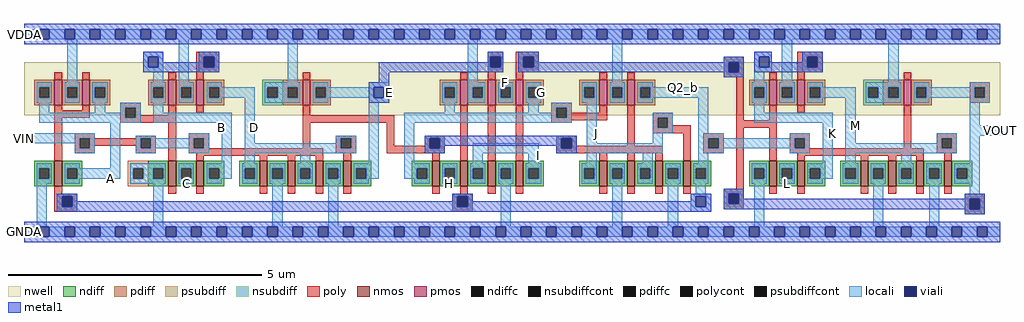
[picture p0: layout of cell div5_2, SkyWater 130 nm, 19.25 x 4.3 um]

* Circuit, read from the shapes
.subckt div5_2 VOUT VIN VDDA GNDA
XM1 A Q2_b GNDA GNDA sky130_fd_pr__nfet_01v8 w=0.5 l=0.15
XM2 C A GNDA GNDA sky130_fd_pr__nfet_01v8 w=0.5 l=0.15
XM3 B VIN C GNDA sky130_fd_pr__nfet_01v8 w=0.5 l=0.15
XM4 GNDA VIN D GNDA sky130_fd_pr__nfet_01v8 w=0.5 l=0.15 m=3
XM5 E D GNDA GNDA sky130_fd_pr__nfet_01v8 w=0.5 l=0.15
XM6 H VIN G GNDA sky130_fd_pr__nfet_01v8 w=0.5 l=0.15
XM7 I Q2_b H GNDA sky130_fd_pr__nfet_01v8 w=0.5 l=0.15
XM8 GNDA E I GNDA sky130_fd_pr__nfet_01v8 w=0.5 l=0.15
XM9 I VOUT GNDA GNDA sky130_fd_pr__nfet_01v8 w=0.5 l=0.15
XM10 GNDA VIN J GNDA sky130_fd_pr__nfet_01v8 w=0.5 l=0.15 m=3
XM11 Q2_b J GNDA GNDA sky130_fd_pr__nfet_01v8 w=0.5 l=0.15
XM12 L VOUT GNDA GNDA sky130_fd_pr__nfet_01v8 w=0.5 l=0.15
XM13 K Q2_b L GNDA sky130_fd_pr__nfet_01v8 w=0.5 l=0.15
XM14 GNDA Q2_b M GNDA sky130_fd_pr__nfet_01v8 w=0.5 l=0.15 m=3
XM15 VOUT M GNDA GNDA sky130_fd_pr__nfet_01v8 w=0.5 l=0.15
XM16 VDDA Q2_b A VDDA sky130_fd_pr__pfet_01v8 w=0.5 l=0.15 m=2
XM17 VDDA A B VDDA sky130_fd_pr__pfet_01v8 w=0.5 l=0.15
XM18 D B VDDA VDDA sky130_fd_pr__pfet_01v8 w=0.5 l=0.15
XM19 E VIN VDDA VDDA sky130_fd_pr__pfet_01v8 w=0.5 l=0.15
XM20 VDDA Q2_b G VDDA sky130_fd_pr__pfet_01v8 w=0.5 l=0.15
XM21 F E VDDA VDDA sky130_fd_pr__pfet_01v8 w=0.5 l=0.15
XM22 G VOUT F VDDA sky130_fd_pr__pfet_01v8 w=0.5 l=0.15
XM23 VDDA G J VDDA sky130_fd_pr__pfet_01v8 w=0.5 l=0.15
XM24 Q2_b VIN VDDA VDDA sky130_fd_pr__pfet_01v8 w=0.5 l=0.15
XM25 VDDA VOUT K VDDA sky130_fd_pr__pfet_01v8 w=0.5 l=0.15
XM26 M K VDDA VDDA sky130_fd_pr__pfet_01v8 w=0.5 l=0.15
XM27 VOUT Q2_b VDDA VDDA sky130_fd_pr__pfet_01v8 w=0.5 l=0.15
.ends

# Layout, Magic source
magic
tech sky130A
<< nwell >>
rect 455 105 2380 210
<< nmos >>
rect 515 -35 530 15
rect 740 -35 755 15
rect 795 -35 810 15
rect 920 -35 935 15
rect 975 -35 990 15
rect 1030 -35 1045 15
rect 1085 -35 1100 15
rect 1260 -35 1275 15
rect 1315 -35 1330 15
rect 1370 -35 1385 15
rect 1425 -35 1440 15
rect 1590 -35 1605 15
rect 1645 -35 1660 15
rect 1700 -35 1715 15
rect 1755 -35 1770 15
rect 1925 -35 1940 15
rect 1980 -35 1995 15
rect 2105 -35 2120 15
rect 2160 -35 2175 15
rect 2215 -35 2230 15
rect 2270 -35 2285 15
<< pmos >>
rect 515 125 530 175
rect 570 125 585 175
rect 740 125 755 175
rect 795 125 810 175
rect 1005 125 1020 175
rect 1315 125 1330 175
rect 1370 125 1385 175
rect 1425 125 1440 175
rect 1590 125 1605 175
rect 1645 125 1660 175
rect 1925 125 1940 175
rect 1980 125 1995 175
rect 2190 125 2205 175
<< ndiff >>
rect 475 0 515 15
rect 475 -20 485 0
rect 505 -20 515 0
rect 475 -35 515 -20
rect 530 0 570 15
rect 530 -20 540 0
rect 560 -20 570 0
rect 530 -35 570 -20
rect 700 0 740 15
rect 700 -20 710 0
rect 730 -20 740 0
rect 700 -35 740 -20
rect 755 0 795 15
rect 755 -20 765 0
rect 785 -20 795 0
rect 755 -35 795 -20
rect 810 0 850 15
rect 810 -20 820 0
rect 840 -20 850 0
rect 810 -35 850 -20
rect 880 0 920 15
rect 880 -20 890 0
rect 910 -20 920 0
rect 880 -35 920 -20
rect 935 0 975 15
rect 935 -20 945 0
rect 965 -20 975 0
rect 935 -35 975 -20
rect 990 0 1030 15
rect 990 -20 1000 0
rect 1020 -20 1030 0
rect 990 -35 1030 -20
rect 1045 0 1085 15
rect 1045 -20 1055 0
rect 1075 -20 1085 0
rect 1045 -35 1085 -20
rect 1100 0 1140 15
rect 1100 -20 1110 0
rect 1130 -20 1140 0
rect 1100 -35 1140 -20
rect 1220 0 1260 15
rect 1220 -20 1230 0
rect 1250 -20 1260 0
rect 1220 -35 1260 -20
rect 1275 0 1315 15
rect 1275 -20 1285 0
rect 1305 -20 1315 0
rect 1275 -35 1315 -20
rect 1330 0 1370 15
rect 1330 -20 1340 0
rect 1360 -20 1370 0
rect 1330 -35 1370 -20
rect 1385 0 1425 15
rect 1385 -20 1395 0
rect 1415 -20 1425 0
rect 1385 -35 1425 -20
rect 1440 0 1480 15
rect 1440 -20 1450 0
rect 1470 -20 1480 0
rect 1440 -35 1480 -20
rect 1550 0 1590 15
rect 1550 -20 1560 0
rect 1580 -20 1590 0
rect 1550 -35 1590 -20
rect 1605 0 1645 15
rect 1605 -20 1615 0
rect 1635 -20 1645 0
rect 1605 -35 1645 -20
rect 1660 0 1700 15
rect 1660 -20 1670 0
rect 1690 -20 1700 0
rect 1660 -35 1700 -20
rect 1715 0 1755 15
rect 1715 -20 1725 0
rect 1745 -20 1755 0
rect 1715 -35 1755 -20
rect 1770 0 1810 15
rect 1770 -20 1780 0
rect 1800 -20 1810 0
rect 1770 -35 1810 -20
rect 1885 0 1925 15
rect 1885 -20 1895 0
rect 1915 -20 1925 0
rect 1885 -35 1925 -20
rect 1940 0 1980 15
rect 1940 -20 1950 0
rect 1970 -20 1980 0
rect 1940 -35 1980 -20
rect 1995 0 2035 15
rect 1995 -20 2005 0
rect 2025 -20 2035 0
rect 1995 -35 2035 -20
rect 2065 0 2105 15
rect 2065 -20 2075 0
rect 2095 -20 2105 0
rect 2065 -35 2105 -20
rect 2120 0 2160 15
rect 2120 -20 2130 0
rect 2150 -20 2160 0
rect 2120 -35 2160 -20
rect 2175 0 2215 15
rect 2175 -20 2185 0
rect 2205 -20 2215 0
rect 2175 -35 2215 -20
rect 2230 0 2270 15
rect 2230 -20 2240 0
rect 2260 -20 2270 0
rect 2230 -35 2270 -20
rect 2285 0 2325 15
rect 2285 -20 2295 0
rect 2315 -20 2325 0
rect 2285 -35 2325 -20
<< pdiff >>
rect 475 160 515 175
rect 475 140 485 160
rect 505 140 515 160
rect 475 125 515 140
rect 530 160 570 175
rect 530 140 540 160
rect 560 140 570 160
rect 530 125 570 140
rect 585 160 625 175
rect 585 140 595 160
rect 615 140 625 160
rect 585 125 625 140
rect 700 160 740 175
rect 700 140 710 160
rect 730 140 740 160
rect 700 125 740 140
rect 755 160 795 175
rect 755 140 765 160
rect 785 140 795 160
rect 755 125 795 140
rect 810 160 850 175
rect 810 140 820 160
rect 840 140 850 160
rect 810 125 850 140
rect 965 160 1005 175
rect 965 140 975 160
rect 995 140 1005 160
rect 965 125 1005 140
rect 1020 160 1060 175
rect 1020 140 1030 160
rect 1050 140 1060 160
rect 1020 125 1060 140
rect 1275 160 1315 175
rect 1275 140 1285 160
rect 1305 140 1315 160
rect 1275 125 1315 140
rect 1330 160 1370 175
rect 1330 140 1340 160
rect 1360 140 1370 160
rect 1330 125 1370 140
rect 1385 160 1425 175
rect 1385 140 1395 160
rect 1415 140 1425 160
rect 1385 125 1425 140
rect 1440 160 1480 175
rect 1440 140 1450 160
rect 1470 140 1480 160
rect 1440 125 1480 140
rect 1550 160 1590 175
rect 1550 140 1560 160
rect 1580 140 1590 160
rect 1550 125 1590 140
rect 1605 160 1645 175
rect 1605 140 1615 160
rect 1635 140 1645 160
rect 1605 125 1645 140
rect 1660 160 1700 175
rect 1660 140 1670 160
rect 1690 140 1700 160
rect 1660 125 1700 140
rect 1885 160 1925 175
rect 1885 140 1895 160
rect 1915 140 1925 160
rect 1885 125 1925 140
rect 1940 160 1980 175
rect 1940 140 1950 160
rect 1970 140 1980 160
rect 1940 125 1980 140
rect 1995 160 2035 175
rect 1995 140 2005 160
rect 2025 140 2035 160
rect 1995 125 2035 140
rect 2150 160 2190 175
rect 2150 140 2160 160
rect 2180 140 2190 160
rect 2150 125 2190 140
rect 2205 160 2245 175
rect 2205 140 2215 160
rect 2235 140 2245 160
rect 2205 125 2245 140
<< ndiffc >>
rect 485 -20 505 0
rect 540 -20 560 0
rect 710 -20 730 0
rect 765 -20 785 0
rect 820 -20 840 0
rect 890 -20 910 0
rect 945 -20 965 0
rect 1000 -20 1020 0
rect 1055 -20 1075 0
rect 1110 -20 1130 0
rect 1230 -20 1250 0
rect 1285 -20 1305 0
rect 1340 -20 1360 0
rect 1395 -20 1415 0
rect 1450 -20 1470 0
rect 1560 -20 1580 0
rect 1615 -20 1635 0
rect 1670 -20 1690 0
rect 1725 -20 1745 0
rect 1780 -20 1800 0
rect 1895 -20 1915 0
rect 1950 -20 1970 0
rect 2005 -20 2025 0
rect 2075 -20 2095 0
rect 2130 -20 2150 0
rect 2185 -20 2205 0
rect 2240 -20 2260 0
rect 2295 -20 2315 0
<< pdiffc >>
rect 485 140 505 160
rect 540 140 560 160
rect 595 140 615 160
rect 710 140 730 160
rect 765 140 785 160
rect 820 140 840 160
rect 975 140 995 160
rect 1030 140 1050 160
rect 1285 140 1305 160
rect 1340 140 1360 160
rect 1395 140 1415 160
rect 1450 140 1470 160
rect 1560 140 1580 160
rect 1615 140 1635 160
rect 1670 140 1690 160
rect 1895 140 1915 160
rect 1950 140 1970 160
rect 2005 140 2025 160
rect 2160 140 2180 160
rect 2215 140 2235 160
<< psubdiff >>
rect 660 0 700 15
rect 660 -20 670 0
rect 690 -20 700 0
rect 660 -35 700 -20
<< nsubdiff >>
rect 925 160 965 175
rect 925 140 935 160
rect 955 140 965 160
rect 925 125 965 140
rect 2110 160 2150 175
rect 2110 140 2120 160
rect 2140 140 2150 160
rect 2110 125 2150 140
<< psubdiffcont >>
rect 670 -20 690 0
<< nsubdiffcont >>
rect 935 140 955 160
rect 2120 140 2140 160
<< poly >>
rect 795 220 840 230
rect 795 200 810 220
rect 830 200 840 220
rect 795 190 840 200
rect 1370 220 1400 230
rect 1370 200 1375 220
rect 1395 200 1400 220
rect 1370 190 1400 200
rect 1425 220 1470 230
rect 1980 220 2030 230
rect 1425 200 1440 220
rect 1460 200 1470 220
rect 1425 190 1470 200
rect 1835 210 1875 220
rect 1835 190 1845 210
rect 1865 190 1875 210
rect 1980 200 2000 220
rect 2020 200 2030 220
rect 1980 190 2030 200
rect 515 175 530 190
rect 570 175 585 190
rect 740 175 755 190
rect 795 175 810 190
rect 1005 175 1020 190
rect 1315 175 1330 190
rect 1370 175 1385 190
rect 1425 175 1440 190
rect 1590 175 1605 190
rect 1645 175 1660 190
rect 1835 180 1875 190
rect 515 115 530 125
rect 570 115 585 125
rect 515 100 585 115
rect 645 120 685 130
rect 645 100 655 120
rect 675 105 685 120
rect 740 105 755 125
rect 795 110 810 125
rect 675 100 755 105
rect 515 15 530 100
rect 645 90 755 100
rect 555 60 595 70
rect 675 60 715 65
rect 555 40 565 60
rect 585 45 685 60
rect 585 40 595 45
rect 555 30 595 40
rect 675 40 685 45
rect 705 40 715 60
rect 675 30 715 40
rect 740 15 755 90
rect 1005 105 1020 125
rect 1005 90 1185 105
rect 780 60 820 70
rect 780 40 790 60
rect 810 40 820 60
rect 1005 40 1020 90
rect 1070 60 1110 65
rect 1070 40 1080 60
rect 1100 40 1110 60
rect 780 30 1045 40
rect 1070 30 1110 40
rect 1170 45 1185 90
rect 1245 60 1285 65
rect 1245 45 1255 60
rect 1170 40 1255 45
rect 1275 40 1285 60
rect 1170 30 1285 40
rect 795 25 1045 30
rect 795 15 810 25
rect 920 15 935 25
rect 975 15 990 25
rect 1030 15 1045 25
rect 1085 15 1100 30
rect 1260 15 1275 30
rect 1315 15 1330 125
rect 1370 15 1385 125
rect 1425 15 1440 125
rect 1495 120 1535 130
rect 1495 100 1505 120
rect 1525 110 1535 120
rect 1590 110 1605 125
rect 1525 100 1605 110
rect 1495 95 1605 100
rect 1495 90 1535 95
rect 1505 60 1545 65
rect 1505 40 1515 60
rect 1535 45 1545 60
rect 1645 45 1660 125
rect 1695 100 1735 110
rect 1695 80 1705 100
rect 1725 85 1735 100
rect 1860 95 1875 180
rect 1925 175 1940 190
rect 1980 175 1995 190
rect 2190 175 2205 190
rect 2320 160 2360 170
rect 2320 140 2330 160
rect 2350 140 2360 160
rect 2320 130 2360 140
rect 1925 95 1940 125
rect 1980 110 1995 125
rect 1725 80 1770 85
rect 1695 70 1770 80
rect 1860 80 1940 95
rect 1535 40 1715 45
rect 1505 30 1715 40
rect 1590 15 1605 30
rect 1645 15 1660 30
rect 1700 15 1715 30
rect 1755 15 1770 70
rect 1795 60 1835 70
rect 1795 40 1805 60
rect 1825 40 1835 60
rect 1795 30 1835 40
rect 515 -50 530 -35
rect 740 -50 755 -35
rect 795 -50 810 -35
rect 920 -50 935 -35
rect 975 -50 990 -35
rect 1030 -50 1045 -35
rect 1085 -50 1100 -35
rect 1260 -50 1275 -35
rect 1315 -50 1330 -35
rect 1370 -50 1385 -35
rect 1425 -50 1440 -35
rect 1590 -50 1605 -35
rect 1645 -50 1660 -35
rect 1700 -50 1715 -35
rect 1755 -50 1770 -35
rect 1860 -40 1875 80
rect 1925 15 1940 80
rect 1965 60 2005 70
rect 1965 40 1975 60
rect 1995 40 2005 60
rect 2190 40 2205 125
rect 2255 60 2295 70
rect 2255 40 2265 60
rect 2285 40 2295 60
rect 1965 30 2230 40
rect 2255 30 2295 40
rect 1980 25 2230 30
rect 1980 15 1995 25
rect 2105 15 2120 25
rect 2160 15 2175 25
rect 2215 15 2230 25
rect 2270 15 2285 30
rect 1835 -50 1875 -40
rect 1925 -50 1940 -35
rect 1980 -50 1995 -35
rect 2105 -50 2120 -35
rect 2160 -50 2175 -35
rect 2215 -50 2230 -35
rect 2270 -50 2285 -35
rect 515 -55 560 -50
rect 515 -75 530 -55
rect 550 -75 560 -55
rect 515 -85 560 -75
rect 1300 -55 1340 -50
rect 1300 -75 1310 -55
rect 1330 -75 1340 -55
rect 1300 -85 1340 -75
rect 1835 -70 1845 -50
rect 1865 -70 1875 -50
rect 1835 -80 1875 -70
rect 2310 -60 2350 -50
rect 2310 -80 2320 -60
rect 2340 -80 2350 -60
rect 2310 -90 2350 -80
<< polycont >>
rect 810 200 830 220
rect 1375 200 1395 220
rect 1440 200 1460 220
rect 1845 190 1865 210
rect 2000 200 2020 220
rect 655 100 675 120
rect 565 40 585 60
rect 685 40 705 60
rect 790 40 810 60
rect 1080 40 1100 60
rect 1255 40 1275 60
rect 1505 100 1525 120
rect 1515 40 1535 60
rect 1705 80 1725 100
rect 2330 140 2350 160
rect 1805 40 1825 60
rect 1975 40 1995 60
rect 2265 40 2285 60
rect 530 -75 550 -55
rect 1310 -75 1330 -55
rect 1845 -70 1865 -50
rect 2320 -80 2340 -60
<< locali >>
rect 455 255 485 275
rect 505 255 535 275
rect 555 255 585 275
rect 605 255 635 275
rect 655 255 685 275
rect 705 255 735 275
rect 755 255 785 275
rect 805 255 835 275
rect 855 255 885 275
rect 905 255 935 275
rect 955 255 985 275
rect 1005 255 1035 275
rect 1055 255 1085 275
rect 1105 255 1135 275
rect 1155 255 1185 275
rect 1205 255 1235 275
rect 1255 255 1285 275
rect 1305 255 1335 275
rect 1355 255 1385 275
rect 1405 255 1435 275
rect 1455 255 1485 275
rect 1505 255 1535 275
rect 1555 255 1585 275
rect 1605 255 1635 275
rect 1655 255 1685 275
rect 1705 255 1735 275
rect 1755 255 1785 275
rect 1805 255 1835 275
rect 1855 255 1885 275
rect 1905 255 1935 275
rect 1955 255 1985 275
rect 2005 255 2035 275
rect 2055 255 2085 275
rect 2105 255 2135 275
rect 2155 255 2185 275
rect 2205 255 2235 275
rect 2255 255 2285 275
rect 2305 255 2335 275
rect 2355 255 2380 275
rect 540 170 560 255
rect 690 220 730 230
rect 690 200 700 220
rect 720 200 730 220
rect 690 190 730 200
rect 710 170 730 190
rect 760 170 780 255
rect 800 220 840 230
rect 800 200 810 220
rect 830 200 840 220
rect 800 190 840 200
rect 975 170 995 255
rect 1330 170 1350 255
rect 1370 220 1400 230
rect 1370 200 1375 220
rect 1395 200 1400 220
rect 1370 190 1400 200
rect 1430 220 1470 230
rect 1430 200 1440 220
rect 1460 200 1470 220
rect 1430 190 1470 200
rect 1615 170 1635 255
rect 1895 220 1930 230
rect 1835 210 1875 220
rect 1835 190 1845 210
rect 1865 190 1875 210
rect 1835 180 1875 190
rect 1895 200 1905 220
rect 1925 200 1930 220
rect 1895 190 1930 200
rect 1895 170 1915 190
rect 1950 170 1970 255
rect 1990 220 2030 230
rect 1990 200 2000 220
rect 2020 200 2030 220
rect 1990 190 2030 200
rect 2160 170 2180 255
rect 480 160 510 170
rect 480 140 485 160
rect 505 140 510 160
rect 480 130 510 140
rect 535 160 565 170
rect 535 140 540 160
rect 560 140 565 160
rect 535 130 565 140
rect 590 160 620 170
rect 590 140 595 160
rect 615 140 620 160
rect 590 130 620 140
rect 705 160 735 170
rect 705 140 710 160
rect 730 140 735 160
rect 705 130 735 140
rect 760 160 790 170
rect 760 140 765 160
rect 785 140 790 160
rect 760 130 790 140
rect 815 160 845 170
rect 930 160 1000 170
rect 815 140 820 160
rect 840 140 910 160
rect 815 130 845 140
rect 485 110 505 130
rect 595 110 615 130
rect 645 120 685 130
rect 645 110 655 120
rect 485 100 655 110
rect 675 100 685 120
rect 485 90 685 100
rect 710 110 730 130
rect 710 90 865 110
rect 455 60 595 70
rect 455 50 565 60
rect 555 40 565 50
rect 585 40 595 60
rect 555 30 595 40
rect 480 0 510 10
rect 480 -20 485 0
rect 505 -20 510 0
rect 480 -30 510 -20
rect 535 0 565 10
rect 625 0 645 90
rect 675 60 715 65
rect 780 60 820 70
rect 675 40 685 60
rect 705 40 790 60
rect 810 40 820 60
rect 675 30 715 40
rect 780 30 820 40
rect 845 10 865 90
rect 890 50 910 140
rect 930 140 935 160
rect 955 140 975 160
rect 995 140 1000 160
rect 930 130 1000 140
rect 1025 160 1055 170
rect 1135 160 1175 170
rect 1025 140 1030 160
rect 1050 140 1145 160
rect 1165 140 1175 160
rect 1025 130 1055 140
rect 1135 130 1175 140
rect 1280 160 1310 170
rect 1280 140 1285 160
rect 1305 140 1310 160
rect 1280 130 1310 140
rect 1330 160 1365 170
rect 1330 140 1340 160
rect 1360 140 1365 160
rect 1330 130 1365 140
rect 1390 160 1420 170
rect 1390 140 1395 160
rect 1415 140 1420 160
rect 1390 130 1420 140
rect 1445 160 1475 170
rect 1445 140 1450 160
rect 1470 140 1475 160
rect 1445 130 1475 140
rect 1555 160 1585 170
rect 1555 140 1560 160
rect 1580 140 1585 160
rect 1555 130 1585 140
rect 1610 160 1640 170
rect 1610 140 1615 160
rect 1635 140 1640 160
rect 1610 130 1640 140
rect 1665 160 1695 170
rect 1890 160 1920 170
rect 1665 140 1670 160
rect 1690 140 1805 160
rect 1665 130 1695 140
rect 1070 60 1110 65
rect 1070 50 1080 60
rect 890 40 1080 50
rect 1100 40 1110 60
rect 890 30 1110 40
rect 890 10 910 30
rect 1000 10 1020 30
rect 1135 10 1155 130
rect 1285 110 1305 130
rect 1450 110 1470 130
rect 1495 120 1535 130
rect 1495 110 1505 120
rect 535 -20 540 0
rect 560 -20 645 0
rect 665 0 735 10
rect 665 -20 670 0
rect 690 -20 710 0
rect 730 -20 735 0
rect 535 -30 565 -20
rect 665 -30 735 -20
rect 760 0 790 10
rect 760 -20 765 0
rect 785 -20 790 0
rect 760 -30 790 -20
rect 815 0 865 10
rect 815 -20 820 0
rect 840 -20 865 0
rect 885 0 915 10
rect 885 -20 890 0
rect 910 -20 915 0
rect 815 -30 845 -20
rect 885 -30 915 -20
rect 940 0 970 10
rect 940 -20 945 0
rect 965 -20 970 0
rect 940 -30 970 -20
rect 995 0 1025 10
rect 995 -20 1000 0
rect 1020 -20 1025 0
rect 995 -30 1025 -20
rect 1050 0 1080 10
rect 1050 -20 1055 0
rect 1075 -20 1080 0
rect 1050 -30 1080 -20
rect 1105 0 1155 10
rect 1105 -20 1110 0
rect 1130 -20 1155 0
rect 1205 100 1505 110
rect 1525 100 1535 120
rect 1205 90 1535 100
rect 1205 10 1225 90
rect 1245 60 1285 65
rect 1245 40 1255 60
rect 1275 40 1285 60
rect 1505 60 1545 65
rect 1245 30 1285 40
rect 1340 30 1470 50
rect 1505 40 1515 60
rect 1535 40 1545 60
rect 1505 30 1545 40
rect 1565 50 1585 130
rect 1695 100 1735 110
rect 1695 80 1705 100
rect 1725 80 1735 100
rect 1695 70 1735 80
rect 1785 70 1805 140
rect 1890 140 1895 160
rect 1915 140 1920 160
rect 1890 130 1920 140
rect 1945 160 1975 170
rect 1945 140 1950 160
rect 1970 140 1975 160
rect 1945 130 1975 140
rect 2000 160 2030 170
rect 2115 160 2185 170
rect 2000 140 2005 160
rect 2025 140 2095 160
rect 2000 130 2030 140
rect 1895 110 1915 130
rect 1895 90 2050 110
rect 1695 50 1715 70
rect 1565 30 1715 50
rect 1785 60 1835 70
rect 1965 60 2005 70
rect 1785 40 1805 60
rect 1825 40 1975 60
rect 1995 40 2005 60
rect 1785 30 1835 40
rect 1965 30 2005 40
rect 1340 10 1360 30
rect 1450 10 1470 30
rect 1565 10 1585 30
rect 1675 10 1695 30
rect 1785 10 1805 30
rect 2030 10 2050 90
rect 2075 50 2095 140
rect 2115 140 2120 160
rect 2140 140 2160 160
rect 2180 140 2185 160
rect 2115 130 2185 140
rect 2210 160 2240 170
rect 2320 160 2360 170
rect 2210 140 2215 160
rect 2235 140 2330 160
rect 2350 140 2360 160
rect 2210 130 2240 140
rect 2320 130 2360 140
rect 2320 85 2340 130
rect 2255 60 2295 70
rect 2255 50 2265 60
rect 2075 40 2265 50
rect 2285 40 2295 60
rect 2075 30 2295 40
rect 2320 65 2380 85
rect 2075 10 2095 30
rect 2185 10 2205 30
rect 2320 10 2340 65
rect 1205 0 1255 10
rect 1205 -20 1230 0
rect 1250 -20 1255 0
rect 1105 -30 1135 -20
rect 1225 -30 1255 -20
rect 1280 0 1310 10
rect 1280 -20 1285 0
rect 1305 -20 1310 0
rect 1280 -30 1310 -20
rect 1335 0 1365 10
rect 1335 -20 1340 0
rect 1360 -20 1365 0
rect 1335 -30 1365 -20
rect 1390 0 1420 10
rect 1390 -20 1395 0
rect 1415 -20 1420 0
rect 1390 -30 1420 -20
rect 1445 0 1475 10
rect 1445 -20 1450 0
rect 1470 -20 1475 0
rect 1445 -30 1475 -20
rect 1555 0 1585 10
rect 1555 -20 1560 0
rect 1580 -20 1585 0
rect 1555 -30 1585 -20
rect 1610 0 1640 10
rect 1610 -20 1615 0
rect 1635 -20 1640 0
rect 1610 -30 1640 -20
rect 1665 0 1695 10
rect 1665 -20 1670 0
rect 1690 -20 1695 0
rect 1665 -30 1695 -20
rect 1720 0 1750 10
rect 1720 -20 1725 0
rect 1745 -20 1750 0
rect 1720 -30 1750 -20
rect 1775 0 1805 10
rect 1775 -20 1780 0
rect 1800 -20 1805 0
rect 1775 -30 1805 -20
rect 1890 0 1920 10
rect 1890 -20 1895 0
rect 1915 -20 1920 0
rect 1890 -30 1920 -20
rect 1945 0 1975 10
rect 1945 -20 1950 0
rect 1970 -20 1975 0
rect 1945 -30 1975 -20
rect 2000 0 2050 10
rect 2000 -20 2005 0
rect 2025 -20 2050 0
rect 2070 0 2100 10
rect 2070 -20 2075 0
rect 2095 -20 2100 0
rect 2000 -30 2030 -20
rect 2070 -30 2100 -20
rect 2125 0 2155 10
rect 2125 -20 2130 0
rect 2150 -20 2155 0
rect 2125 -30 2155 -20
rect 2180 0 2210 10
rect 2180 -20 2185 0
rect 2205 -20 2210 0
rect 2180 -30 2210 -20
rect 2235 0 2265 10
rect 2235 -20 2240 0
rect 2260 -20 2265 0
rect 2235 -30 2265 -20
rect 2290 0 2340 10
rect 2290 -20 2295 0
rect 2315 -20 2340 0
rect 2290 -30 2340 -20
rect 480 -115 500 -30
rect 520 -55 560 -50
rect 520 -75 530 -55
rect 550 -75 560 -55
rect 520 -85 560 -75
rect 710 -115 730 -30
rect 945 -115 965 -30
rect 1055 -115 1075 -30
rect 1300 -55 1340 -50
rect 1300 -75 1310 -55
rect 1330 -75 1340 -55
rect 1300 -85 1340 -75
rect 1395 -115 1415 -30
rect 1615 -115 1635 -30
rect 1725 -115 1745 -30
rect 1780 -50 1800 -30
rect 1835 -50 1875 -40
rect 1770 -55 1810 -50
rect 1770 -75 1780 -55
rect 1800 -75 1810 -55
rect 1770 -85 1810 -75
rect 1835 -70 1845 -50
rect 1865 -70 1875 -50
rect 1835 -80 1875 -70
rect 1895 -115 1915 -30
rect 2130 -115 2150 -30
rect 2240 -115 2260 -30
rect 2320 -50 2340 -30
rect 2310 -60 2350 -50
rect 2310 -80 2320 -60
rect 2340 -80 2350 -60
rect 2310 -90 2350 -80
rect 455 -135 485 -115
rect 505 -135 535 -115
rect 555 -135 585 -115
rect 605 -135 635 -115
rect 655 -135 685 -115
rect 705 -135 735 -115
rect 755 -135 785 -115
rect 805 -135 835 -115
rect 855 -135 885 -115
rect 905 -135 935 -115
rect 955 -135 985 -115
rect 1005 -135 1035 -115
rect 1055 -135 1085 -115
rect 1105 -135 1135 -115
rect 1155 -135 1185 -115
rect 1205 -135 1235 -115
rect 1255 -135 1285 -115
rect 1305 -135 1335 -115
rect 1355 -135 1385 -115
rect 1405 -135 1435 -115
rect 1455 -135 1485 -115
rect 1505 -135 1535 -115
rect 1555 -135 1585 -115
rect 1605 -135 1635 -115
rect 1655 -135 1685 -115
rect 1705 -135 1735 -115
rect 1755 -135 1785 -115
rect 1805 -135 1835 -115
rect 1855 -135 1885 -115
rect 1905 -135 1935 -115
rect 1955 -135 1985 -115
rect 2005 -135 2035 -115
rect 2055 -135 2085 -115
rect 2105 -135 2135 -115
rect 2155 -135 2185 -115
rect 2205 -135 2235 -115
rect 2255 -135 2285 -115
rect 2305 -135 2335 -115
rect 2355 -135 2380 -115
<< viali >>
rect 485 255 505 275
rect 535 255 555 275
rect 585 255 605 275
rect 635 255 655 275
rect 685 255 705 275
rect 735 255 755 275
rect 785 255 805 275
rect 835 255 855 275
rect 885 255 905 275
rect 935 255 955 275
rect 985 255 1005 275
rect 1035 255 1055 275
rect 1085 255 1105 275
rect 1135 255 1155 275
rect 1185 255 1205 275
rect 1235 255 1255 275
rect 1285 255 1305 275
rect 1335 255 1355 275
rect 1385 255 1405 275
rect 1435 255 1455 275
rect 1485 255 1505 275
rect 1535 255 1555 275
rect 1585 255 1605 275
rect 1635 255 1655 275
rect 1685 255 1705 275
rect 1735 255 1755 275
rect 1785 255 1805 275
rect 1835 255 1855 275
rect 1885 255 1905 275
rect 1935 255 1955 275
rect 1985 255 2005 275
rect 2035 255 2055 275
rect 2085 255 2105 275
rect 2135 255 2155 275
rect 2185 255 2205 275
rect 2235 255 2255 275
rect 2285 255 2305 275
rect 2335 255 2355 275
rect 700 200 720 220
rect 810 200 830 220
rect 1375 200 1395 220
rect 1440 200 1460 220
rect 1845 190 1865 210
rect 1905 200 1925 220
rect 2000 200 2020 220
rect 1145 140 1165 160
rect 1255 40 1275 60
rect 1515 40 1535 60
rect 530 -75 550 -55
rect 1310 -75 1330 -55
rect 1780 -75 1800 -55
rect 1845 -70 1865 -50
rect 2320 -80 2340 -60
rect 485 -135 505 -115
rect 535 -135 555 -115
rect 585 -135 605 -115
rect 635 -135 655 -115
rect 685 -135 705 -115
rect 735 -135 755 -115
rect 785 -135 805 -115
rect 835 -135 855 -115
rect 885 -135 905 -115
rect 935 -135 955 -115
rect 985 -135 1005 -115
rect 1035 -135 1055 -115
rect 1085 -135 1105 -115
rect 1135 -135 1155 -115
rect 1185 -135 1205 -115
rect 1235 -135 1255 -115
rect 1285 -135 1305 -115
rect 1335 -135 1355 -115
rect 1385 -135 1405 -115
rect 1435 -135 1455 -115
rect 1485 -135 1505 -115
rect 1535 -135 1555 -115
rect 1585 -135 1605 -115
rect 1635 -135 1655 -115
rect 1685 -135 1705 -115
rect 1735 -135 1755 -115
rect 1785 -135 1805 -115
rect 1835 -135 1855 -115
rect 1885 -135 1905 -115
rect 1935 -135 1955 -115
rect 1985 -135 2005 -115
rect 2035 -135 2055 -115
rect 2085 -135 2105 -115
rect 2135 -135 2155 -115
rect 2185 -135 2205 -115
rect 2235 -135 2255 -115
rect 2285 -135 2305 -115
rect 2335 -135 2355 -115
<< metal1 >>
rect 455 275 2380 285
rect 455 255 485 275
rect 505 255 535 275
rect 555 255 585 275
rect 605 255 635 275
rect 655 255 685 275
rect 705 255 735 275
rect 755 255 785 275
rect 805 255 835 275
rect 855 255 885 275
rect 905 255 935 275
rect 955 255 985 275
rect 1005 255 1035 275
rect 1055 255 1085 275
rect 1105 255 1135 275
rect 1155 255 1185 275
rect 1205 255 1235 275
rect 1255 255 1285 275
rect 1305 255 1335 275
rect 1355 255 1385 275
rect 1405 255 1435 275
rect 1455 255 1485 275
rect 1505 255 1535 275
rect 1555 255 1585 275
rect 1605 255 1635 275
rect 1655 255 1685 275
rect 1705 255 1735 275
rect 1755 255 1785 275
rect 1805 255 1835 275
rect 1855 255 1885 275
rect 1905 255 1935 275
rect 1955 255 1985 275
rect 2005 255 2035 275
rect 2055 255 2085 275
rect 2105 255 2135 275
rect 2155 255 2185 275
rect 2205 255 2235 275
rect 2255 255 2285 275
rect 2305 255 2335 275
rect 2355 255 2380 275
rect 455 245 2380 255
rect 690 220 730 230
rect 690 200 700 220
rect 720 210 730 220
rect 800 220 840 230
rect 800 210 810 220
rect 720 200 810 210
rect 830 200 840 220
rect 1370 220 1400 230
rect 1370 210 1375 220
rect 690 190 840 200
rect 1155 200 1375 210
rect 1395 200 1400 220
rect 1155 190 1400 200
rect 1430 220 1470 230
rect 1895 220 1930 230
rect 1430 200 1440 220
rect 1460 210 1470 220
rect 1835 210 1875 220
rect 1460 200 1845 210
rect 1430 190 1845 200
rect 1865 190 1875 210
rect 1895 200 1905 220
rect 1925 210 1930 220
rect 1990 220 2030 230
rect 1990 210 2000 220
rect 1925 200 2000 210
rect 2020 200 2030 220
rect 1895 190 2030 200
rect 1155 170 1175 190
rect 1835 180 1875 190
rect 1135 160 1175 170
rect 1135 140 1145 160
rect 1165 140 1175 160
rect 1135 130 1175 140
rect 1245 60 1545 65
rect 1245 40 1255 60
rect 1275 45 1515 60
rect 1275 40 1285 45
rect 1245 30 1285 40
rect 1505 40 1515 45
rect 1535 40 1545 60
rect 1505 30 1545 40
rect 1835 -50 1875 -40
rect 520 -55 560 -50
rect 520 -75 530 -55
rect 550 -65 560 -55
rect 1300 -55 1340 -50
rect 1300 -65 1310 -55
rect 550 -75 1310 -65
rect 1330 -65 1340 -55
rect 1770 -55 1810 -50
rect 1770 -65 1780 -55
rect 1330 -75 1780 -65
rect 1800 -75 1810 -55
rect 520 -85 1810 -75
rect 1835 -70 1845 -50
rect 1865 -60 1875 -50
rect 2310 -60 2350 -50
rect 1865 -70 2320 -60
rect 1835 -80 2320 -70
rect 2340 -80 2350 -60
rect 2310 -90 2350 -80
rect 455 -115 2380 -105
rect 455 -135 485 -115
rect 505 -135 535 -115
rect 555 -135 585 -115
rect 605 -135 635 -115
rect 655 -135 685 -115
rect 705 -135 735 -115
rect 755 -135 785 -115
rect 805 -135 835 -115
rect 855 -135 885 -115
rect 905 -135 935 -115
rect 955 -135 985 -115
rect 1005 -135 1035 -115
rect 1055 -135 1085 -115
rect 1105 -135 1135 -115
rect 1155 -135 1185 -115
rect 1205 -135 1235 -115
rect 1255 -135 1285 -115
rect 1305 -135 1335 -115
rect 1355 -135 1385 -115
rect 1405 -135 1435 -115
rect 1455 -135 1485 -115
rect 1505 -135 1535 -115
rect 1555 -135 1585 -115
rect 1605 -135 1635 -115
rect 1655 -135 1685 -115
rect 1705 -135 1735 -115
rect 1755 -135 1785 -115
rect 1805 -135 1835 -115
rect 1855 -135 1885 -115
rect 1905 -135 1935 -115
rect 1955 -135 1985 -115
rect 2005 -135 2035 -115
rect 2055 -135 2085 -115
rect 2105 -135 2135 -115
rect 2155 -135 2185 -115
rect 2205 -135 2235 -115
rect 2255 -135 2285 -115
rect 2305 -135 2335 -115
rect 2355 -135 2380 -115
rect 455 -145 2380 -135
<< labels >>
flabel locali 775 -30 775 -30 5 FreeSans 160 0 0 -80 C
flabel locali 845 80 845 80 7 FreeSans 160 0 -80 0 B
flabel locali 910 80 910 80 3 FreeSans 160 0 80 0 D
flabel locali 1175 150 1175 150 3 FreeSans 160 0 80 0 E
flabel locali 1405 170 1405 170 1 FreeSans 160 0 0 80 F
flabel locali 1475 150 1475 150 3 FreeSans 160 0 80 0 G
flabel locali 1295 -30 1295 -30 5 FreeSans 160 0 0 -80 H
flabel locali 1585 70 1585 70 3 FreeSans 160 0 80 0 J
flabel locali 1755 160 1755 160 1 FreeSans 160 0 0 80 Q2_b
flabel locali 1960 -30 1960 -30 5 FreeSans 160 0 0 -80 L
flabel locali 2050 70 2050 70 3 FreeSans 160 0 80 0 K
flabel locali 2095 85 2095 85 3 FreeSans 160 0 80 0 M
flabel locali 2380 75 2380 75 3 FreeSans 160 0 80 0 VOUT
port 1 e
flabel locali 455 60 455 60 7 FreeSans 160 0 -80 0 VIN
port 2 w
flabel locali 625 -20 625 -20 5 FreeSans 160 0 0 -80 A
flabel locali 1470 25 1470 25 3 FreeSans 160 0 80 0 I
flabel metal1 455 265 455 265 7 FreeSans 160 0 -80 0 VDDA
port 3 w
flabel metal1 455 -125 455 -125 7 FreeSans 160 0 -80 0 GNDA
port 4 w
<< end >>
